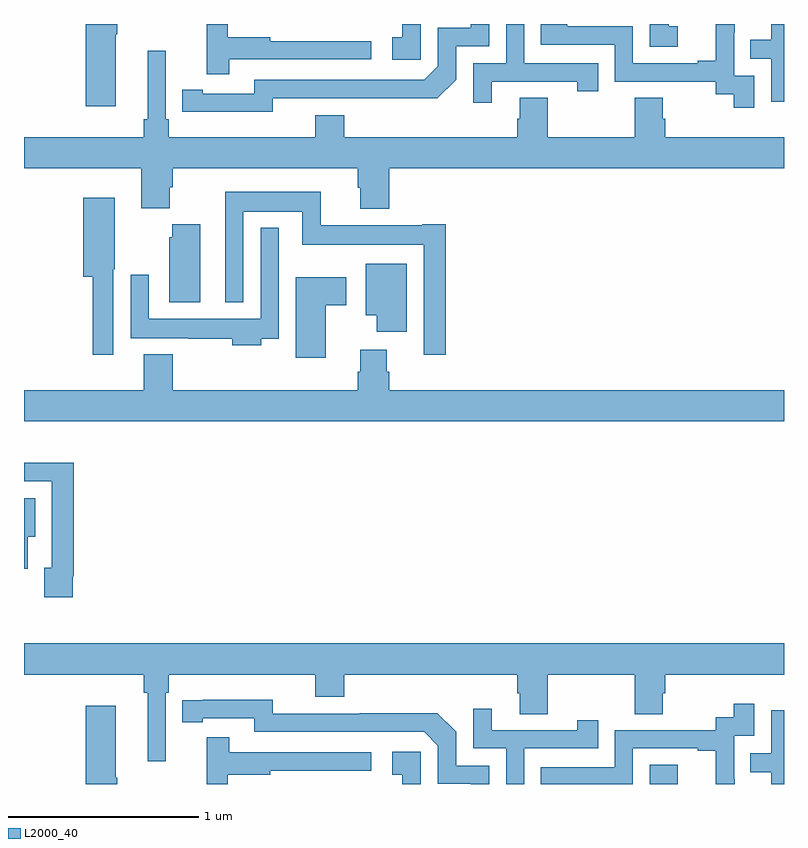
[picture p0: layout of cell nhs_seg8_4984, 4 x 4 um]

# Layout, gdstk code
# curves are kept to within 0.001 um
import gdstk
lib = gdstk.Library(unit=1e-6, precision=1e-09)
def R(c, l, rs):  # rectangles x0, y0, x1, y1
    for r in rs: c.add(gdstk.rectangle(r[:2], r[2:], *l))
def P(c, l, *ps):  # polygons
    for p in ps: c.add(gdstk.Polygon(p, *l))
L2000_40 = (2000, 40)

nhs_seg8_4984 = lib.new_cell('nhs_seg8_4984')
R(nhs_seg8_4984, L2000_40, [(414.294,1139.9,414.442,1140.001), (412.391,1143.899,412.81,1143.9)])
P(nhs_seg8_4984, L2000_40, [(414.843,1143.627),(414.738,1143.627),(414.738,1143.857),(414.74,1143.857),(414.74,1143.9),(414.641,1143.9),(414.641,1143.706),(414.545,1143.706),(414.545,1143.693),(414.204,1143.693),(414.204,1143.888),(413.859,1143.888),(413.859,1143.9),(413.719,1143.9),(413.719,1143.792),(414.108,1143.792),(414.108,1143.597),(414.642,1143.597),(414.642,1143.529),(414.735,1143.529),(414.735,1143.459),(414.843,1143.459)],
  [(412.308,1143.51),(413.176,1143.509),(413.274,1143.606),(413.274,1143.783),(413.448,1143.783),(413.448,1143.9),(413.351,1143.9),(413.351,1143.879),(413.178,1143.879),(413.178,1143.678),(413.106,1143.606),(412.212,1143.606),(412.212,1143.534),(411.94,1143.534),(411.94,1143.554),(411.832,1143.554),(411.832,1143.438),(412.308,1143.437)],
  [(411.484,1143.847),(411.492,1143.847),(411.492,1143.9),(411.326,1143.9),(411.326,1143.468),(411.484,1143.468)],
  [(412.079,1143.714),(412.828,1143.714),(412.828,1143.81),(412.295,1143.81),(412.295,1143.83),(412.072,1143.83),(412.072,1143.9),(411.962,1143.9),(411.962,1143.636),(412.079,1143.636)],
  [(413.461,1143.597),(413.912,1143.597),(413.912,1143.546),(414.023,1143.546),(414.023,1143.693),(413.634,1143.693),(413.634,1143.9),(413.538,1143.9),(413.538,1143.693),(413.364,1143.693),(413.364,1143.486),(413.461,1143.486)],
  [(414.442,1143.889),(414.393,1143.889),(414.393,1143.9),(414.294,1143.9),(414.294,1143.78),(414.442,1143.78)],
  [(413.088,1143.9),(412.991,1143.9),(412.991,1143.831),(412.938,1143.831),(412.938,1143.711),(413.088,1143.711)],
  [(415,1143.9),(414.933,1143.9),(414.933,1143.818),(414.823,1143.818),(414.823,1143.717),(414.933,1143.717),(414.933,1143.492),(415,1143.492)],
  [(412.922,1143.14),(415,1143.14),(415,1143.304),(414.374,1143.304),(414.374,1143.402),(414.361,1143.402),(414.361,1143.512),(414.214,1143.512),(414.214,1143.304),(413.757,1143.304),(413.757,1143.512),(413.609,1143.512),(413.609,1143.402),(413.597,1143.402),(413.597,1143.304),(412.685,1143.304),(412.685,1143.421),(412.532,1143.421),(412.532,1143.304),(411.761,1143.304),(411.761,1143.4),(411.747,1143.4),(411.747,1143.76),(411.65,1143.76),(411.65,1143.4),(411.631,1143.4),(411.631,1143.304),(411,1143.304),(411,1143.14),(411.617,1143.14),(411.617,1142.931),(411.767,1142.931),(411.767,1143.041),(411.782,1143.041),(411.782,1143.14),(412.757,1143.14),(412.757,1143.039),(412.769,1143.039),(412.769,1142.927),(412.922,1142.927)],
  [(413.219,1142.845),(413.096,1142.845),(413.096,1142.842),(412.562,1142.842),(412.562,1143.016),(412.058,1143.016),(412.058,1142.435),(412.155,1142.435),(412.155,1142.912),(412.464,1142.912),(412.464,1142.738),(413.103,1142.738),(413.103,1142.16),(413.219,1142.16)],
  [(411.471,1142.61),(411.478,1142.61),(411.478,1142.986),(411.313,1142.986),(411.313,1142.57),(411.363,1142.57),(411.363,1142.16),(411.471,1142.16)],
  [(411.928,1142.847),(411.78,1142.847),(411.78,1142.778),(411.764,1142.778),(411.764,1142.435),(411.928,1142.435)],
  [(412.249,1142.244),(412.341,1142.244),(412.341,1142.827),(412.245,1142.827),(412.245,1142.35),(411.657,1142.35),(411.657,1142.581),(411.561,1142.581),(411.561,1142.246),(411.865,1142.246),(411.865,1142.244),(412.097,1142.244),(412.097,1142.21),(412.249,1142.21)],
  [(413.014,1142.638),(412.799,1142.638),(412.799,1142.366),(412.856,1142.366),(412.856,1142.28),(413.014,1142.28)],
  [(412.588,1142.419),(412.696,1142.419),(412.696,1142.566),(412.43,1142.566),(412.43,1142.144),(412.588,1142.144)],
  [(415,1141.972),(412.922,1141.972),(412.922,1142.07),(412.909,1142.07),(412.909,1142.185),(412.769,1142.185),(412.769,1142.07),(412.757,1142.07),(412.757,1141.972),(411.782,1141.972),(411.782,1142.161),(411.629,1142.161),(411.629,1141.972),(411,1141.972),(411,1141.808),(415,1141.808)],
  [(411.256,1140.994),(411.263,1140.994),(411.263,1141.592),(411,1141.592),(411,1141.494),(411.147,1141.494),(411.147,1141.038),(411.107,1141.038),(411.107,1140.882),(411.256,1140.882)],
  [(411.019,1141.202),(411.058,1141.202),(411.058,1141.405),(411,1141.405),(411,1141.034),(411.019,1141.034)],
  [(411.747,1140.38),(411.761,1140.38),(411.761,1140.476),(412.532,1140.476),(412.532,1140.359),(412.685,1140.359),(412.685,1140.476),(413.597,1140.476),(413.597,1140.378),(413.609,1140.378),(413.609,1140.268),(413.757,1140.268),(413.757,1140.476),(414.214,1140.476),(414.214,1140.268),(414.361,1140.268),(414.361,1140.378),(414.374,1140.378),(414.374,1140.476),(415,1140.476),(415,1140.64),(411,1140.64),(411,1140.476),(411.631,1140.476),(411.631,1140.38),(411.65,1140.38),(411.65,1140.021),(411.747,1140.021)],
  [(413.448,1139.997),(413.274,1139.997),(413.274,1140.174),(413.176,1140.272),(412.768,1140.272),(412.768,1140.27),(412.308,1140.27),(412.308,1140.343),(411.832,1140.342),(411.832,1140.226),(411.94,1140.226),(411.94,1140.246),(412.212,1140.246),(412.212,1140.174),(413.106,1140.174),(413.178,1140.102),(413.178,1139.901),(413.448,1139.9)],
  [(414.204,1140.087),(414.545,1140.087),(414.545,1140.075),(414.641,1140.075),(414.641,1139.9),(414.74,1139.9),(414.74,1139.924),(414.738,1139.924),(414.738,1140.153),(414.843,1140.153),(414.843,1140.322),(414.735,1140.322),(414.735,1140.252),(414.642,1140.252),(414.642,1140.183),(414.108,1140.183),(414.108,1139.988),(413.719,1139.988),(413.719,1139.9),(414.204,1139.9)],
  [(411.492,1139.933),(411.484,1139.933),(411.484,1140.313),(411.326,1140.313),(411.326,1139.9),(411.492,1139.9)],
  [(413.634,1140.087),(414.023,1140.087),(414.023,1140.235),(413.912,1140.235),(413.912,1140.183),(413.461,1140.183),(413.461,1140.295),(413.364,1140.295),(413.364,1140.087),(413.538,1140.087),(413.538,1139.9),(413.634,1139.9)],
  [(415,1140.288),(414.933,1140.288),(414.933,1140.063),(414.823,1140.063),(414.823,1139.962),(414.933,1139.962),(414.933,1139.9),(415,1139.9)],
  [(412.072,1139.95),(412.295,1139.95),(412.295,1139.97),(412.828,1139.97),(412.828,1140.066),(412.079,1140.066),(412.079,1140.145),(411.962,1140.145),(411.962,1139.9),(412.072,1139.9)],
  [(413.088,1140.07),(412.938,1140.07),(412.938,1139.949),(412.991,1139.949),(412.991,1139.9),(413.088,1139.9)])

lib.write_gds('nhs_seg8_4984.gds')
